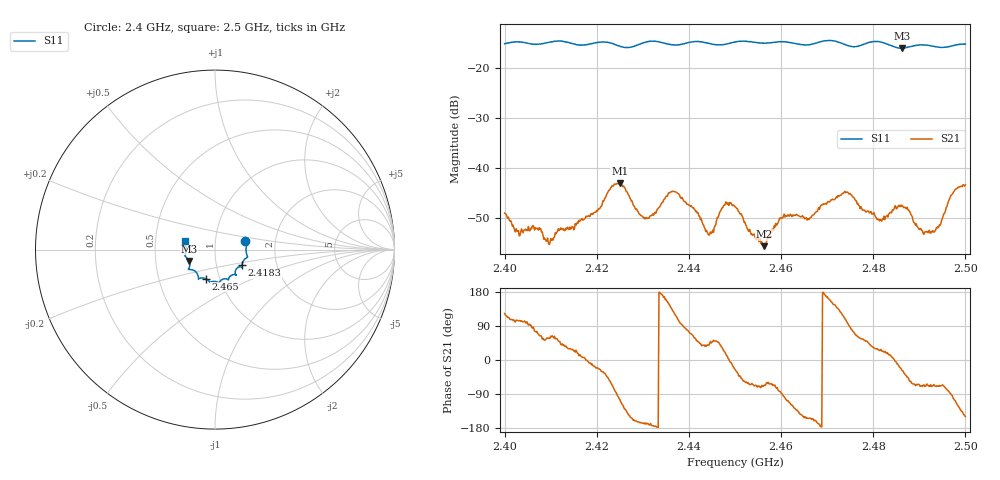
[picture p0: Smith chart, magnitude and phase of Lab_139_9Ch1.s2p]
# Hz S RI R 50
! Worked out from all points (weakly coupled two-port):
!   601 points, 2.4 GHz to 2.5 GHz, reference 50 ohm
!   highest |S21| = -42.95 dB at 2.425 GHz (marker M1); lowest = -55.6 dB at 2.4563 GHz (marker M2)
!   lowest |S11| = -16.0 dB at 2.4862 GHz (marker M3), VSWR 1.38, Z = 37.1 - j4.82 ohm
!   |S11| at or under -10 dB: start of sweep to end of sweep
!   S12 and S22 are empty: the file has one direction only
!   S11 on the Smith chart (normalised r, x): 2.4 GHz: 1.40, +0.13; 2.4183 GHz: 1.33, -0.24; 2.465 GHz: 0.86, -0.29; 2.5 GHz: 0.71, +0.07
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2.4e9  0.169 0.046  -0.00193 0.00299  0 0  0 0
2.402833e9  0.1798 0.0332  -0.000591 0.00227  0 0  0 0
2.409333e9  0.1773 -0.0302  0.00108 0.00168  0 0  0 0
2.416667e9  0.1551 -0.0684  0.00307 0.000482  0 0  0 0
2.418333e9  0.1499 -0.087  0.00332 -0.000443  0 0  0 0
2.425e9  0.1343 -0.0966  -0.00176 -0.0069  0 0  0 0
2.430167e9  0.1144 -0.1379  -0.00313 -0.000774  0 0  0 0
2.433333e9  0.1168 -0.1413  -0.00395 -0.000106  0 0  0 0
2.437167e9  0.0887 -0.1452  -0.00259 0.00515  0 0  0 0
2.4445e9  0.0652 -0.1633  0.00157 0.00151  0 0  0 0
2.447667e9  0.0378 -0.1678  0.00393 0.00168  0 0  0 0
2.45e9  0.0252 -0.1806  0.00376 -0.00172  0 0  0 0
2.456333e9  -0.00389 -0.1775  0.000668 -0.00152  0 0  0 0
2.460167e9  -0.0284 -0.1813  5.54e-05 -0.00318  0 0  0 0
2.465e9  -0.0526 -0.1621  -0.00284 -0.0015  0 0  0 0
2.466667e9  -0.0714 -0.1577  -0.00305 -0.0013  0 0  0 0
2.474e9  -0.0953 -0.1419  -0.00163 0.00545  0 0  0 0
2.481333e9  -0.1475 -0.1087  0.0027 0.00125  0 0  0 0
2.483333e9  -0.1421 -0.0959  0.00337 0.000829  0 0  0 0
2.486167e9  -0.1447 -0.0633  0.00382 -0.00189  0 0  0 0
2.492833e9  -0.1642 -0.0207  0.000887 -0.0022  0 0  0 0
2.5e9  -0.167 0.0471  -0.00588 -0.00346  0 0  0 0
